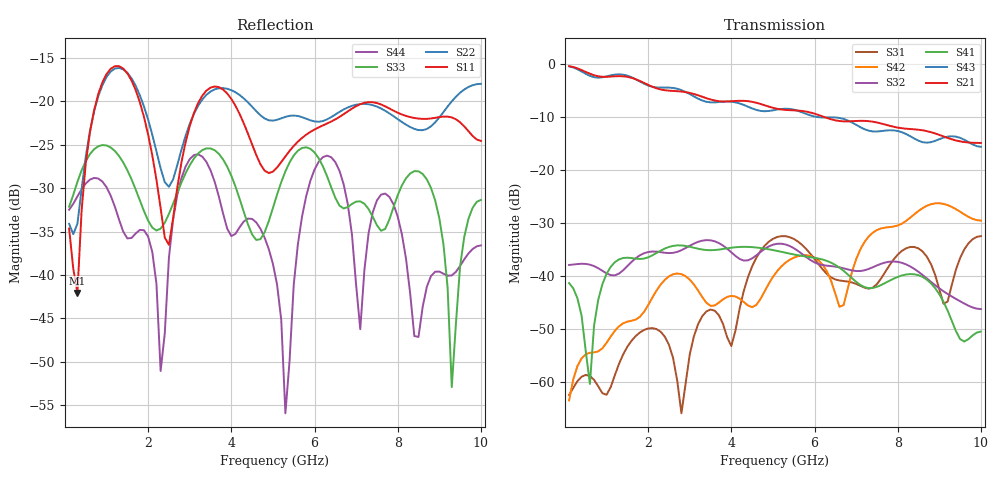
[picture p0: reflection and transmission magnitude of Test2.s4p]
# MHz MA S R 50.0
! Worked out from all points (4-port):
!   100 points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, 100 MHz to 10 GHz, reference 50 ohm
!   strongest paths, dB at 100 MHz, 2.6 GHz, 5.1 GHz, 7.6 GHz, 10 GHz:
!     S21: -0.5, -5.1, -8.5, -11.3, -14.9
!     S43: -0.5, -4.6, -8.7, -12.7, -15.7
!     S41: -41.3, -34.3, -35.3, -41.7, -50.5
!     S32: -37.9, -35.7, -33.9, -37.7, -46.2
!     S42: -63.4, -39.7, -39.1, -31.1, -29.6
!     S31: -62.4, -55.5, -32.7, -40.5, -32.5
!   lowest |S11| = -42.1 dB at 300 MHz (marker M1), VSWR 1.02, Z = 49.6 - j0.656 ohm
!   |S11| at or under -10 dB: start of sweep to end of sweep
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100  0.01852 -8.4  0.9511 -6.1  0.000795 33.9  0.01257 -177.1
     0.946 -6.2  0.0197 -21.1  0.008464 -2.8  0.000718 50.3
     0.000756 23.5  0.01269 -174.7  0.02473 18.1  0.9473 -7.5
     0.008562 -1.6  0.000673 47.8  0.9423 -7.6  0.02373 -9.8
300  0.007879 -122.8  0.9065 -19.2  0.001313 62.4  0.01243 -172.2
     0.9024 -19.3  0.01976 -97.7  0.005962 -10.4  0.001584 67.9
     0.001021 52.8  0.01294 -166.1  0.03439 39.1  0.8875 -23.8
     0.006157 -5.7  0.001415 68.7  0.8843 -24.0  0.02835 -22.8
1600  0.132 158.5  0.7375 -124.1  0.002844 -167.9  0.01209 124.1
      0.7349 -123.9  0.1358 170.5  0.01537 131.7  0.003597 20.9
      0.002449 -179.2  0.01355 109.3  0.03557 24.0  0.7469 -155.4
      0.01474 142.2  0.003782 25.6  0.7441 -155.5  0.01632 78.5
6600  0.08133 177.8  0.2887 -82.9  0.009687 145.4  0.01222 149.9
      0.2879 -82.8  0.08693 164.1  0.01369 87.3  0.001914 -136.3
      0.009055 169.4  0.01204 82.0  0.02508 -63.5  0.3074 132.9
      0.01196 140.1  0.005126 -80.7  0.3077 133.0  0.03982 -133.3
8600  0.07922 161.1  0.2373 151.5  0.01199 -27.6  0.005082 57.1
      0.2353 152.3  0.0682 165.3  0.009653 -60.7  0.04082 153.0
      0.01698 -33.7  0.01019 -53.5  0.03816 53.4  0.183 -24.1
      0.009775 59.7  0.04359 158.9  0.1819 -23.8  0.006536 -117.0
9300  0.08078 175.9  0.1954 111.5  0.01137 108.2  0.005669 13.9
      0.1938 111.5  0.09995 -171.1  0.009018 -70.6  0.04641 -174.2
      0.008201 97.7  0.006404 -101.9  0.002258 129.5  0.2087 -81.5
      0.003786 22.9  0.04467 -166.1  0.207 -81.4  0.009934 171.0
10000  0.05917 137.2  0.1783 72.3  0.02106 145.2  0.007264 -6.4
       0.179 71.9  0.1262 -178.5  0.00249 18.3  0.03401 -131.8
       0.02372 134.8  0.004872 -170.0  0.02706 -69.3  0.1637 -142.0
       0.002991 -104.5  0.03322 -136.8  0.1645 -141.5  0.01479 129.0
